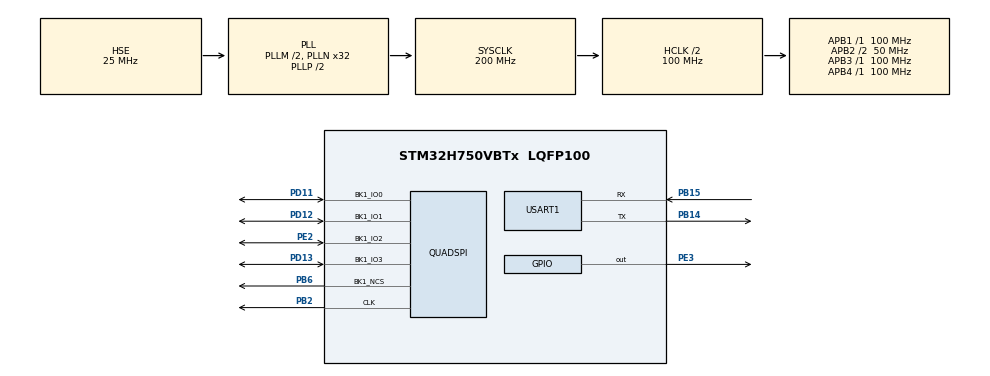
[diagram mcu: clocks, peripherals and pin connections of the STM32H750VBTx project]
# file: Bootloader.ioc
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CORTEX_M7.AccessPermission_Spec=MPU_REGION_NO_ACCESS
CORTEX_M7.BaseAddress_Spec=0x0
CORTEX_M7.CPU_DCache=Disabled
CORTEX_M7.CPU_ICache=Disabled
CORTEX_M7.DisableExec_Spec=MPU_INSTRUCTION_ACCESS_DISABLE
CORTEX_M7.IsBufferable_Spec=MPU_ACCESS_NOT_BUFFERABLE
CORTEX_M7.IsCacheable_Spec=MPU_ACCESS_NOT_CACHEABLE
CORTEX_M7.IsShareable_Spec=MPU_ACCESS_SHAREABLE
CORTEX_M7.MPU_Control=MPU_PRIVILEGED_DEFAULT
CORTEX_M7.Size_Spec=MPU_REGION_SIZE_4GB
CORTEX_M7.SubRegionDisable_Spec=0x87
CORTEX_M7.default_mode_Activation=1
Mcu.Family=STM32H7
Mcu.Name=STM32H750VBTx
Mcu.Package=LQFP100
NVIC.PriorityGroup=NVIC_PRIORITYGROUP_4
NVIC.QUADSPI_IRQn=true\:0\:0\:false\:false\:true\:true\:true\:true
PA13\ (JTMS/SWDIO).Mode=Serial_Wire
PA13\ (JTMS/SWDIO).Signal=DEBUG_JTMS-SWDIO
PA14\ (JTCK/SWCLK).Mode=Serial_Wire
PA14\ (JTCK/SWCLK).Signal=DEBUG_JTCK-SWCLK
PB14.Mode=Asynchronous
PB14.Signal=USART1_TX
PB15.Mode=Asynchronous
PB15.Signal=USART1_RX
PB2.GPIO_PuPd=GPIO_PULLUP
PB2.GPIO_Speed=GPIO_SPEED_FREQ_VERY_HIGH
PB2.Mode=Single Bank 1
PB2.Signal=QUADSPI_CLK
PB6.GPIO_PuPd=GPIO_PULLUP
PB6.GPIO_Speed=GPIO_SPEED_FREQ_VERY_HIGH
PB6.Mode=Single Bank 1
PB6.Signal=QUADSPI_BK1_NCS
PC14-OSC32_IN\ (OSC32_IN).Mode=LSE-External-Oscillator
PC14-OSC32_IN\ (OSC32_IN).Signal=RCC_OSC32_IN
PC15-OSC32_OUT\ (OSC32_OUT).Mode=LSE-External-Oscillator
PC15-OSC32_OUT\ (OSC32_OUT).Signal=RCC_OSC32_OUT
PD11.GPIO_Speed=GPIO_SPEED_FREQ_VERY_HIGH
PD11.Mode=Single Bank 1
PD11.Signal=QUADSPI_BK1_IO0
PD12.GPIO_Speed=GPIO_SPEED_FREQ_VERY_HIGH
PD12.Mode=Single Bank 1
PD12.Signal=QUADSPI_BK1_IO1
PD13.GPIO_Speed=GPIO_SPEED_FREQ_VERY_HIGH
PD13.Mode=Single Bank 1
PD13.Signal=QUADSPI_BK1_IO3
PE2.GPIO_Speed=GPIO_SPEED_FREQ_VERY_HIGH
PE2.Mode=Single Bank 1
PE2.Signal=QUADSPI_BK1_IO2
PE3.Signal=GPIO_Output
PH0-OSC_IN\ (PH0).Mode=HSE-External-Oscillator
PH0-OSC_IN\ (PH0).Signal=RCC_OSC_IN
PH1-OSC_OUT\ (PH1).Mode=HSE-External-Oscillator
PH1-OSC_OUT\ (PH1).Signal=RCC_OSC_OUT
ProjectManager.HeapSize=0x200
ProjectManager.StackSize=0x400
ProjectManager.TargetToolchain=Makefile
QUADSPI.ChipSelectHighTime=QSPI_CS_HIGH_TIME_2_CYCLE
QUADSPI.ClockPrescaler=3
QUADSPI.FlashSize=22
RCC.ADCFreq_Value=50390625
RCC.APB1Freq_Value=100000000
RCC.APB2Freq_Value=50000000
RCC.APB3Freq_Value=100000000
RCC.APB4Freq_Value=100000000
RCC.CortexFreq_Value=200000000
RCC.D2PPRE2=RCC_APB2_DIV2
RCC.DIVM1=2
RCC.DIVN1=32
RCC.HCLKFreq_Value=100000000
RCC.HPRE=RCC_HCLK_DIV2
RCC.PLL2FRACN=0
RCC.PLL3FRACN=0
RCC.PLLFRACN=0
RCC.PLLSourceVirtual=RCC_PLLSOURCE_HSE
RCC.SYSCLKFreq_VALUE=200000000
RCC.SYSCLKSource=RCC_SYSCLKSOURCE_PLLCLK
RCC.USBFreq_Value=200000000
USART1.VirtualMode-Asynchronous=VM_ASYNC
board=custom

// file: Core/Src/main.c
/* USER CODE BEGIN Header */
/**
  ******************************************************************************
  * @file           : main.c
  * @brief          : Main program body
  ******************************************************************************
  * @attention
  *
  * Copyright (c) 2023 STMicroelectronics.
  * All rights reserved.
  *
  * This software is licensed under terms that can be found in the LICENSE file
  * in the root directory of this software component.
  * If no LICENSE file comes with this software, it is provided AS-IS.
  *
  ******************************************************************************
  */
/* USER CODE END Header */
#include "main.h"
#include "quadspi.h"
#include "usart.h"
#include "gpio.h"

/* USER CODE BEGIN Includes */
#include "Retarget.h"
#include "w25qxx.h"
/* USER CODE END Includes */

/* USER CODE BEGIN PV */
#define VECT_TAB_OFFSET      (0x00000000UL)
#define APPLICATION_ADDRESS  (0x90000000UL)

typedef  void (*pFunction)(void);
pFunction JumpToApplication;
/* USER CODE END PV */

void SystemClock_Config(void);
static void MPU_Config(void);

int main(void)
{

  /* MPU Configuration--------------------------------------------------------*/
  MPU_Config();

  /* MCU Configuration--------------------------------------------------------*/

  /* Reset of all peripherals, Initializes the Flash interface and the Systick. */
  HAL_Init();

  /* Configure the system clock */
  SystemClock_Config();

  /* Initialize all configured peripherals */
  MX_GPIO_Init();
  MX_QUADSPI_Init();
  MX_USART1_UART_Init();
  /* USER CODE BEGIN 2 */
    HAL_MPU_Disable();
    RetargetInit(&huart1);
    QSPI_W25Qxx_Init();	   // 初始化W25Q64
#if 0
    QSPI_W25Qxx_Test();		// Flash读写测试
#endif
#if 1
    int8_t QSPI_Status = QSPI_W25Qxx_MemoryMappedMode(); // 配置QSPI为内存映射模式
    if( QSPI_Status == QSPI_W25Qxx_OK )
    {
        printf ("\r\n进入内存映射模式成功\r\n");
    }
    else
    {
        printf ("\r\n内存映射错误！！  错误代码:%d\r\n",QSPI_Status);
        while (1);
    }
    SysTick->CTRL = 0;
    SysTick->LOAD = 0;
    SysTick->VAL = 0;
    for(uint8_t i = 0; i < 8; i++)
    {
        NVIC->ICER[i]=0xFFFFFFFF;
        NVIC->ICPR[i]=0xFFFFFFFF;
    }
    __set_CONTROL(0);
    __disable_irq();
    __set_PRIMASK(1);
    HAL_GPIO_DeInit(GPIOE, GPIO_PIN_3);
    JumpToApplication = (pFunction) (*(__IO uint32_t*)(APPLICATION_ADDRESS + 4));
    __set_MSP(*(__IO uint32_t*) APPLICATION_ADDRESS);
    JumpToApplication();
#endif
  /* USER CODE END 2 */

  /* Infinite loop */
  while (1)
  {

    /* USER CODE BEGIN 3 */
      HAL_GPIO_TogglePin(GPIOE, GPIO_PIN_3);
      HAL_Delay(200);
  }
  /* USER CODE END 3 */
}

void SystemClock_Config(void)
{
  RCC_OscInitTypeDef RCC_OscInitStruct = {0};
  RCC_ClkInitTypeDef RCC_ClkInitStruct = {0};

  /** Supply configuration update enable
  */
  HAL_PWREx_ConfigSupply(PWR_LDO_SUPPLY);

  /** Configure the main internal regulator output voltage
  */
  __HAL_PWR_VOLTAGESCALING_CONFIG(PWR_REGULATOR_VOLTAGE_SCALE3);

  while(!__HAL_PWR_GET_FLAG(PWR_FLAG_VOSRDY)) {}

  /** Initializes the RCC Oscillators according to the specified parameters
  * in the RCC_OscInitTypeDef structure.
  */
  RCC_OscInitStruct.OscillatorType = RCC_OSCILLATORTYPE_HSE;
  RCC_OscInitStruct.HSEState = RCC_HSE_ON;
  RCC_OscInitStruct.PLL.PLLState = RCC_PLL_ON;
  RCC_OscInitStruct.PLL.PLLSource = RCC_PLLSOURCE_HSE;
  RCC_OscInitStruct.PLL.PLLM = 2;
  RCC_OscInitStruct.PLL.PLLN = 32;
  RCC_OscInitStruct.PLL.PLLP = 2;
  RCC_OscInitStruct.PLL.PLLQ = 2;
  RCC_OscInitStruct.PLL.PLLR = 2;
  RCC_OscInitStruct.PLL.PLLRGE = RCC_PLL1VCIRANGE_3;
  RCC_OscInitStruct.PLL.PLLVCOSEL = RCC_PLL1VCOWIDE;
  RCC_OscInitStruct.PLL.PLLFRACN = 0;
  if (HAL_RCC_OscConfig(&RCC_OscInitStruct) != HAL_OK)
  {
    Error_Handler();
  }

  /** Initializes the CPU, AHB and APB buses clocks
  */
  RCC_ClkInitStruct.ClockType = RCC_CLOCKTYPE_HCLK|RCC_CLOCKTYPE_SYSCLK
                              |RCC_CLOCKTYPE_PCLK1|RCC_CLOCKTYPE_PCLK2
                              |RCC_CLOCKTYPE_D3PCLK1|RCC_CLOCKTYPE_D1PCLK1;
  RCC_ClkInitStruct.SYSCLKSource = RCC_SYSCLKSOURCE_PLLCLK;
  RCC_ClkInitStruct.SYSCLKDivider = RCC_SYSCLK_DIV1;
  RCC_ClkInitStruct.AHBCLKDivider = RCC_HCLK_DIV2;
  RCC_ClkInitStruct.APB3CLKDivider = RCC_APB3_DIV1;
  RCC_ClkInitStruct.APB1CLKDivider = RCC_APB1_DIV1;
  RCC_ClkInitStruct.APB2CLKDivider = RCC_APB2_DIV2;
  RCC_ClkInitStruct.APB4CLKDivider = RCC_APB4_DIV1;

  if (HAL_RCC_ClockConfig(&RCC_ClkInitStruct, FLASH_LATENCY_2) != HAL_OK)
  {
    Error_Handler();
  }
}

/* MPU Configuration */

void MPU_Config(void)
{
  MPU_Region_InitTypeDef MPU_InitStruct = {0};

  /* Disables the MPU */
  HAL_MPU_Disable();

  /** Initializes and configures the Region and the memory to be protected
  */
  MPU_InitStruct.Enable = MPU_REGION_ENABLE;
  MPU_InitStruct.Number = MPU_REGION_NUMBER0;
  MPU_InitStruct.BaseAddress = 0x0;
  MPU_InitStruct.Size = MPU_REGION_SIZE_4GB;
  MPU_InitStruct.SubRegionDisable = 0x87;
  MPU_InitStruct.TypeExtField = MPU_TEX_LEVEL0;
  MPU_InitStruct.AccessPermission = MPU_REGION_NO_ACCESS;
  MPU_InitStruct.DisableExec = MPU_INSTRUCTION_ACCESS_DISABLE;
  MPU_InitStruct.IsShareable = MPU_ACCESS_SHAREABLE;
  MPU_InitStruct.IsCacheable = MPU_ACCESS_NOT_CACHEABLE;
  MPU_InitStruct.IsBufferable = MPU_ACCESS_NOT_BUFFERABLE;

  HAL_MPU_ConfigRegion(&MPU_InitStruct);
  /* Enables the MPU */
  HAL_MPU_Enable(MPU_PRIVILEGED_DEFAULT);

}

void Error_Handler(void)
{
  __disable_irq();
  while (1)
  {
  }
}
